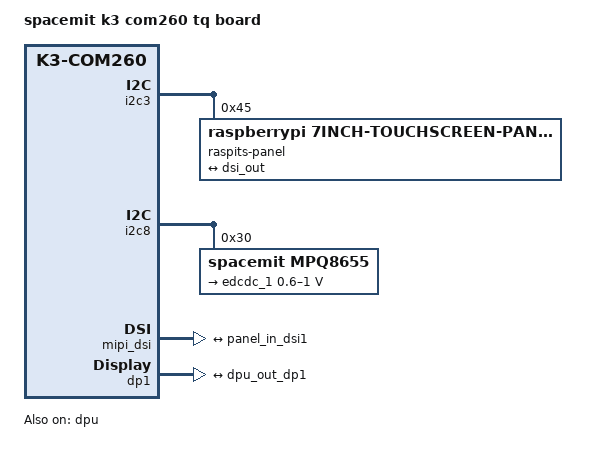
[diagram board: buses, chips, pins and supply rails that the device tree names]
// SPDX-License-Identifier: GPL-2.0
/*
 * k3 com260 tq board device tree (U-Boot).
 *
 * Copyright (C) 2025 SPACEMIT Micro Limited
 */

#include "k3_com260.dtsi"

/ {
	model = "spacemit k3 com260 tq board";
};

&i2c3 {
	status = "okay";
	pinctrl-names = "default";
	pinctrl-0 = <&pinctrl_i2c3_1>;

	raspits-panel@45 {
		compatible = "raspberrypi,7inch-touchscreen-panel";
		reg = <0x45>;
		status = "okay";

		port {
			panel_in_dsi1: endpoint {
				remote-endpoint = <&dsi_out>;
			};
		};
	};
};

&i2c8 {
	mpq8655: mpq8655@30 {
		compatible = "spacemit,mpq8655";
		reg = <0x30>;
		bus = <8>;
		u-boot,dm-spl;

		regulators {
			edcdc_1: EDCDC_REG1 {
				regulator-name = "edcdc1";
				regulator-min-microvolt = <600000>;
				regulator-max-microvolt = <1000000>;
				regulator-init-microvolt = <880000>;
				regulator-always-on;
				regulator-boot-on;
				u-boot,dm-spl;
			};
		};
	};
};

&pcie4_rc {
	status = "disabled";
};

&dpu {
	status = "okay";

	dpu_out: port {
		#address-cells = <1>;
		#size-cells = <0>;

		dpu_out_dp1: endpoint@1 {
			reg = <1>;
			remote-endpoint = <&dp1_in_dpu>;
		};
	};

};

&mipi_dsi {
	bit-clk = <700000000>;
	pix-clk = <24000000>;
	status = "okay";

	ports {
		mipi_in: port {
			#address-cells = <1>;
			#size-cells = <0>;
			dsi_out: endpoint@1 {
				reg = <1>;
				remote-endpoint = <&panel_in_dsi1>;
			};
		};
	};
};

&panel {
	force-attached = "lcd_tc358762xbg_dpi_800x480";
	status = "okay";
};

&dp1 {
	pinctrl-names = "default";
	pinctrl-0 = <&pinctrl_dp1_3>;
	status = "okay";

	ports {
		dp1_in: port {
			#address-cells = <1>;
			#size-cells = <0>;
			dp1_in_dpu: endpoint@0 {
				reg = <0>;
				remote-endpoint = <&dpu_out_dp1>;
			};
		};
	};
};
